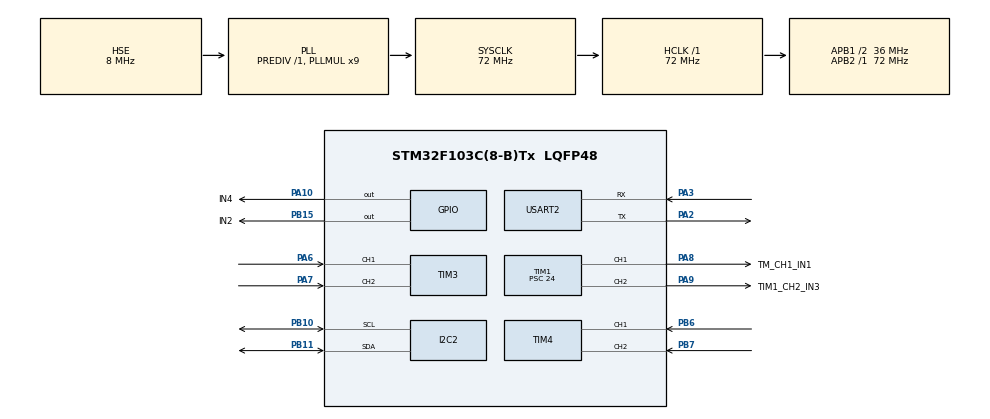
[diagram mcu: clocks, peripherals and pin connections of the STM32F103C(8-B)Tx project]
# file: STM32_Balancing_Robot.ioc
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Dma.Request0=USART2_RX
Dma.USART2_RX.0.Direction=DMA_PERIPH_TO_MEMORY
Dma.USART2_RX.0.Instance=DMA1_Channel6
Dma.USART2_RX.0.MemDataAlignment=DMA_MDATAALIGN_BYTE
Dma.USART2_RX.0.MemInc=DMA_MINC_ENABLE
Dma.USART2_RX.0.Mode=DMA_CIRCULAR
Dma.USART2_RX.0.PeriphDataAlignment=DMA_PDATAALIGN_BYTE
Dma.USART2_RX.0.PeriphInc=DMA_PINC_DISABLE
Dma.USART2_RX.0.Priority=DMA_PRIORITY_LOW
I2C2.I2C_Mode=I2C_Fast
Mcu.Family=STM32F1
Mcu.Name=STM32F103C(8-B)Tx
Mcu.Package=LQFP48
NVIC.DMA1_Channel6_IRQn=true\:0\:0\:false\:false\:true\:false\:true\:true
NVIC.PriorityGroup=NVIC_PRIORITYGROUP_4
NVIC.TIM2_IRQn=true\:0\:0\:false\:false\:true\:true\:true\:true
PA10.GPIO_Label=IN4
PA10.GPIO_Speed=GPIO_SPEED_FREQ_MEDIUM
PA10.Signal=GPIO_Output
PA13.Mode=Serial_Wire
PA13.Signal=SYS_JTMS-SWDIO
PA14.Mode=Serial_Wire
PA14.Signal=SYS_JTCK-SWCLK
PA2.Mode=Asynchronous
PA2.Signal=USART2_TX
PA3.Mode=Asynchronous
PA3.Signal=USART2_RX
PA6.Signal=S_TIM3_CH1
PA7.Signal=S_TIM3_CH2
PA8.GPIO_Label=TM_CH1_IN1
PA8.Signal=S_TIM1_CH1
PA9.GPIO_Label=TIM1_CH2_IN3
PA9.Signal=S_TIM1_CH2
PB10.Mode=I2C
PB10.Signal=I2C2_SCL
PB11.Mode=I2C
PB11.Signal=I2C2_SDA
PB15.GPIO_Label=IN2
PB15.GPIO_Speed=GPIO_SPEED_FREQ_MEDIUM
PB15.Signal=GPIO_Output
PB6.Signal=S_TIM4_CH1
PB7.Signal=S_TIM4_CH2
PD0-OSC_IN.Mode=HSE-External-Oscillator
PD0-OSC_IN.Signal=RCC_OSC_IN
PD1-OSC_OUT.Mode=HSE-External-Oscillator
PD1-OSC_OUT.Signal=RCC_OSC_OUT
ProjectManager.HeapSize=0x200
ProjectManager.StackSize=0x400
ProjectManager.TargetToolchain=STM32CubeIDE
RCC.AHBFreq_Value=72000000
RCC.APB1CLKDivider=RCC_HCLK_DIV2
RCC.APB1Freq_Value=36000000
RCC.APB1TimFreq_Value=72000000
RCC.APB2Freq_Value=72000000
RCC.APB2TimFreq_Value=72000000
RCC.HCLKFreq_Value=72000000
RCC.PLLMUL=RCC_PLL_MUL9
RCC.PLLSourceVirtual=RCC_PLLSOURCE_HSE
RCC.SYSCLKFreq_VALUE=72000000
RCC.SYSCLKSource=RCC_SYSCLKSOURCE_PLLCLK
RCC.USBFreq_Value=72000000
SH.S_TIM1_CH1.0=TIM1_CH1,PWM Generation1 CH1
SH.S_TIM1_CH2.0=TIM1_CH2,PWM Generation2 CH2
SH.S_TIM3_CH1.0=TIM3_CH1,Encoder_Interface
SH.S_TIM3_CH2.0=TIM3_CH2,Encoder_Interface
SH.S_TIM4_CH1.0=TIM4_CH1,Encoder_Interface
SH.S_TIM4_CH2.0=TIM4_CH2,Encoder_Interface
TIM1.Channel-PWM\ Generation1\ CH1=TIM_CHANNEL_1
TIM1.Channel-PWM\ Generation2\ CH2=TIM_CHANNEL_2
TIM1.Period=2879
TIM1.Prescaler=24
TIM2.Period=499
TIM2.Prescaler=719
TIM3.EncoderMode=TIM_ENCODERMODE_TI12
TIM4.EncoderMode=TIM_ENCODERMODE_TI12
USART2.VirtualMode=VM_ASYNC
VP_TIM1_VS_ClockSourceINT.Mode=Internal
VP_TIM2_VS_ClockSourceINT.Mode=Internal
board=custom

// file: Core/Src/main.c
/* USER CODE BEGIN Header */
/**
  ******************************************************************************
  * @file           : main.c
  * @brief          : Main program body
  ******************************************************************************
  * @attention
  *
  * Copyright (c) 2026 STMicroelectronics.
  * All rights reserved.
  *
  * This software is licensed under terms that can be found in the LICENSE file
  * in the root directory of this software component.
  * If no LICENSE file comes with this software, it is provided AS-IS.
  *
  ******************************************************************************
  */
/* USER CODE END Header */
#include "main.h"

/* USER CODE BEGIN Includes */
#include <math.h>
#include "MPU6050.h"
#include "PID.h"
#include "Motor.h"
/* USER CODE END Includes */

/* USER CODE BEGIN PTD */
typedef enum{
	ROBOT_STOP=0,
	ROBOT_RUNNING=1
}Robot_StateTypedef;
/* USER CODE END PTD */

/* USER CODE BEGIN PD */
#define ANGLE_LOOP_TICK_5MS		1U
#define SPEED_LOOP_TICK_5MS		6U
#define S_TO_5MS				0.005f

#define MPU6050_ADDR 			0x68
#define SAMPLES					200
#define IMU_FALL_LIMITS			5U
#define IMU_RESET_EVERY			40U

#define MOTOR1_REVERSED 		0
#define MOTOR2_REVERSED 		1
#define MOTOR_DEADBAND 			500

#define Angle_Kp				50.0f
#define Angle_Ki				0.0f
#define Angle_Kd				2.0f

#define Speed_Kp				0.12f
#define Speed_Ki				0.0f
#define Speed_Kd				0.0f
#define SPEED_TARGET_ANGLE_LIMIT_DEG	15.0f
#define SPEED_LFB_ALPHA			0.4F
#define SPEED_LOOP_DELAY_TICK5MS	400U

#define FALLING_ANGLE_DEG		45.0f
#define ARM_ANGLE_DEG			15.0f
#define ARM_HOLD_S				0.5f

#define MAX_PWM					2879
#define MIN_PWM					-2879

/* USER CODE END PD */

I2C_HandleTypeDef hi2c2;

TIM_HandleTypeDef htim1;
TIM_HandleTypeDef htim2;
TIM_HandleTypeDef htim3;
TIM_HandleTypeDef htim4;

UART_HandleTypeDef huart2;
DMA_HandleTypeDef hdma_usart2_rx;

/* USER CODE BEGIN PV */
MPU6050_TypeDef MyMPU;

Motor_t motor1;
Motor_t motor2;

PID_t PID_Angle;
PID_t PID_Speed;

Robot_StateTypedef state=ROBOT_STOP;

float target_angle=0.0f;
float filtered_speed=0.0f;
float arm_hold_s=0.0f;
uint32_t run_start_tick=0;

uint16_t last_en1=0;
uint16_t last_en2=0;

volatile uint32_t tick_5ms=0;
/* USER CODE END PV */
void SystemClock_Config(void);
static void MX_GPIO_Init(void);
static void MX_DMA_Init(void);
static void MX_TIM1_Init(void);
static void MX_I2C2_Init(void);
static void MX_TIM2_Init(void);
static void MX_TIM3_Init(void);
static void MX_TIM4_Init(void);
static void MX_USART2_UART_Init(void);
/* USER CODE BEGIN PFP */
void HAL_TIM_PeriodElapsedCallback(TIM_HandleTypeDef *htim);
void Robot_AngleLoop(float dt);
void Robot_SpeedLoop(float dt);
void Robot_Stop(void);
/* USER CODE END PFP */

/* USER CODE BEGIN 0 */
 void HAL_TIM_PeriodElapsedCallback(TIM_HandleTypeDef *htim){
	 if(htim->Instance==TIM2){
		 tick_5ms++;
	 }
 }
 void Robot_Stop(){
	 Motor_stop(&motor1);
	 Motor_stop(&motor2);

	 PID_reset(&PID_Angle);
	 PID_reset(&PID_Speed);

	 filtered_speed=0.0f;
	 target_angle=0.0f;

	 arm_hold_s=0;

	 state=ROBOT_STOP;
 }
 void Robot_AngleLoop(float dt){
	 static uint8_t failure=0;
	 if(MPU6050_ReadAll(&MyMPU, dt)!=MPU_OK){
			 failure++;
		 if(failure>=IMU_FALL_LIMITS) Robot_Stop();
		 if(failure%IMU_RESET_EVERY==0U) MPU6050_RecoverBus(&MyMPU);
		 return;
	 }
	 else failure=0;
	 const float pitch=MyMPU.Pitch;
	 if(state==ROBOT_RUNNING){
		 if(fabsf(pitch)>=FALLING_ANGLE_DEG){
			 Robot_Stop();
			 return;
		 }
		 float pwm_motor=PID_compute_WithRate(&PID_Angle, target_angle, pitch,MyMPU.KalmanPitch.rate, dt);
		 Motor_setspeed(&motor1, pwm_motor);
		 Motor_setspeed(&motor2, pwm_motor);
	 }
	 else{
		 if(fabsf(pitch)<ARM_ANGLE_DEG){
			 arm_hold_s+=dt;
			 if(arm_hold_s>ARM_HOLD_S){
				 run_start_tick=tick_5ms;
				 state=ROBOT_RUNNING;
			 }
			 else{
				 arm_hold_s=0;
			 }
		 }
	 }

 }
 void Robot_SpeedLoop(float dt){
	uint16_t curr_en1=__HAL_TIM_GET_COUNTER(&htim3);
	uint16_t curr_en2=__HAL_TIM_GET_COUNTER(&htim4);

	int16_t delta_en1=(int16_t)(curr_en1-last_en1);
	int16_t delta_en2=-(int16_t)(curr_en2-last_en2);

	last_en1=curr_en1;
	last_en2=curr_en2;
	if(state==ROBOT_STOP) return;

	float encoder_avg=(float)(delta_en1+delta_en2)*0.5f;

  filtered_speed= (1-SPEED_LFB_ALPHA)*filtered_speed+encoder_avg*(SPEED_LFB_ALPHA);
	const uint32_t now=tick_5ms;
	if(now-run_start_tick>SPEED_LOOP_DELAY_TICK5MS){
		target_angle=PID_compute(&PID_Speed, 0.0f,filtered_speed, dt);
	}
 }
/* USER CODE END 0 */

int main(void)
{

  /* MCU Configuration--------------------------------------------------------*/

  /* Reset of all peripherals, Initializes the Flash interface and the Systick. */
  HAL_Init();

  /* USER CODE BEGIN Init */
  uint32_t last_angle_tick=0;
  uint32_t last_speed_tick=0;
  /* USER CODE END Init */

  /* Configure the system clock */
  SystemClock_Config();

  /* Initialize all configured peripherals */
  MX_GPIO_Init();
  MX_DMA_Init();
  MX_TIM1_Init();
  MX_I2C2_Init();
  MX_TIM2_Init();
  MX_TIM3_Init();
  MX_TIM4_Init();
  MX_USART2_UART_Init();
  /* USER CODE BEGIN 2 */

  Motor_init(&motor1, IN2_GPIO_Port, IN2_Pin, &htim1, TIM_CHANNEL_1, MOTOR1_REVERSED, MOTOR_DEADBAND);
  Motor_init(&motor2, IN4_GPIO_Port, IN4_Pin, &htim1, TIM_CHANNEL_2, MOTOR2_REVERSED, MOTOR_DEADBAND);
  Motor_stop(&motor1);
  Motor_stop(&motor2);

  HAL_TIM_PWM_Start(&htim1, TIM_CHANNEL_1);
  HAL_TIM_PWM_Start(&htim1, TIM_CHANNEL_2);
  __HAL_TIM_MOE_ENABLE(&htim1);

  HAL_TIM_Encoder_Start(&htim3, TIM_CHANNEL_ALL);
  HAL_TIM_Encoder_Start(&htim4, TIM_CHANNEL_ALL);
  last_en1 = (uint16_t)__HAL_TIM_GET_COUNTER(&htim3);
  last_en2 = (uint16_t)__HAL_TIM_GET_COUNTER(&htim4);

  MPU6050_Init(&MyMPU, &hi2c2, MPU6050_ADDR);
  MPU6050_Calibrate(&MyMPU, SAMPLES);

  PID_init(&PID_Angle, Angle_Kp, Angle_Ki, Angle_Kd, MIN_PWM, MAX_PWM);

  PID_init(&PID_Speed, Speed_Kp, Speed_Ki, Speed_Kd, -SPEED_TARGET_ANGLE_LIMIT_DEG, SPEED_TARGET_ANGLE_LIMIT_DEG);

  HAL_TIM_Base_Start_IT(&htim2);
  /* USER CODE END 2 */

  /* Infinite loop */
  while (1)
  {

    /* USER CODE BEGIN 3 */
	  uint32_t now=tick_5ms;
	  uint32_t elasped= now-last_angle_tick;
	  if(elasped>=ANGLE_LOOP_TICK_5MS){
	  	  Robot_AngleLoop((float)elasped*S_TO_5MS);
	  	  last_angle_tick=now;
	  }
	  now=tick_5ms;
	  elasped=now-last_speed_tick;
	  if(elasped>SPEED_LOOP_TICK_5MS){

		  Robot_SpeedLoop((float)elasped*S_TO_5MS);
		  last_speed_tick=now;
	  }

  /* USER CODE END 3 */
  }
}

void SystemClock_Config(void)
{
  RCC_OscInitTypeDef RCC_OscInitStruct = {0};
  RCC_ClkInitTypeDef RCC_ClkInitStruct = {0};

  /** Initializes the RCC Oscillators according to the specified parameters
  * in the RCC_OscInitTypeDef structure.
  */
  RCC_OscInitStruct.OscillatorType = RCC_OSCILLATORTYPE_HSE;
  RCC_OscInitStruct.HSEState = RCC_HSE_ON;
  RCC_OscInitStruct.HSEPredivValue = RCC_HSE_PREDIV_DIV1;
  RCC_OscInitStruct.HSIState = RCC_HSI_ON;
  RCC_OscInitStruct.PLL.PLLState = RCC_PLL_ON;
  RCC_OscInitStruct.PLL.PLLSource = RCC_PLLSOURCE_HSE;
  RCC_OscInitStruct.PLL.PLLMUL = RCC_PLL_MUL9;
  if (HAL_RCC_OscConfig(&RCC_OscInitStruct) != HAL_OK)
  {
    Error_Handler();
  }

  /** Initializes the CPU, AHB and APB buses clocks
  */
  RCC_ClkInitStruct.ClockType = RCC_CLOCKTYPE_HCLK|RCC_CLOCKTYPE_SYSCLK
                              |RCC_CLOCKTYPE_PCLK1|RCC_CLOCKTYPE_PCLK2;
  RCC_ClkInitStruct.SYSCLKSource = RCC_SYSCLKSOURCE_PLLCLK;
  RCC_ClkInitStruct.AHBCLKDivider = RCC_SYSCLK_DIV1;
  RCC_ClkInitStruct.APB1CLKDivider = RCC_HCLK_DIV2;
  RCC_ClkInitStruct.APB2CLKDivider = RCC_HCLK_DIV1;

  if (HAL_RCC_ClockConfig(&RCC_ClkInitStruct, FLASH_LATENCY_2) != HAL_OK)
  {
    Error_Handler();
  }
}

static void MX_I2C2_Init(void)
{

  hi2c2.Instance = I2C2;
  hi2c2.Init.ClockSpeed = 400000;
  hi2c2.Init.DutyCycle = I2C_DUTYCYCLE_2;
  hi2c2.Init.OwnAddress1 = 0;
  hi2c2.Init.AddressingMode = I2C_ADDRESSINGMODE_7BIT;
  hi2c2.Init.DualAddressMode = I2C_DUALADDRESS_DISABLE;
  hi2c2.Init.OwnAddress2 = 0;
  hi2c2.Init.GeneralCallMode = I2C_GENERALCALL_DISABLE;
  hi2c2.Init.NoStretchMode = I2C_NOSTRETCH_DISABLE;
  if (HAL_I2C_Init(&hi2c2) != HAL_OK)
  {
    Error_Handler();
  }

}

static void MX_TIM1_Init(void)
{

  TIM_ClockConfigTypeDef sClockSourceConfig = {0};
  TIM_MasterConfigTypeDef sMasterConfig = {0};
  TIM_OC_InitTypeDef sConfigOC = {0};
  TIM_BreakDeadTimeConfigTypeDef sBreakDeadTimeConfig = {0};

  htim1.Instance = TIM1;
  htim1.Init.Prescaler = 24;
  htim1.Init.CounterMode = TIM_COUNTERMODE_UP;
  htim1.Init.Period = 2879;
  htim1.Init.ClockDivision = TIM_CLOCKDIVISION_DIV1;
  htim1.Init.RepetitionCounter = 0;
  htim1.Init.AutoReloadPreload = TIM_AUTORELOAD_PRELOAD_DISABLE;
  if (HAL_TIM_Base_Init(&htim1) != HAL_OK)
  {
    Error_Handler();
  }
  sClockSourceConfig.ClockSource = TIM_CLOCKSOURCE_INTERNAL;
  if (HAL_TIM_ConfigClockSource(&htim1, &sClockSourceConfig) != HAL_OK)
  {
    Error_Handler();
  }
  if (HAL_TIM_PWM_Init(&htim1) != HAL_OK)
  {
    Error_Handler();
  }
  sMasterConfig.MasterOutputTrigger = TIM_TRGO_RESET;
  sMasterConfig.MasterSlaveMode = TIM_MASTERSLAVEMODE_DISABLE;
  if (HAL_TIMEx_MasterConfigSynchronization(&htim1, &sMasterConfig) != HAL_OK)
  {
    Error_Handler();
  }
  sConfigOC.OCMode = TIM_OCMODE_PWM1;
  sConfigOC.Pulse = 0;
  sConfigOC.OCPolarity = TIM_OCPOLARITY_HIGH;
  sConfigOC.OCNPolarity = TIM_OCNPOLARITY_HIGH;
  sConfigOC.OCFastMode = TIM_OCFAST_DISABLE;
  sConfigOC.OCIdleState = TIM_OCIDLESTATE_RESET;
  sConfigOC.OCNIdleState = TIM_OCNIDLESTATE_RESET;
  if (HAL_TIM_PWM_ConfigChannel(&htim1, &sConfigOC, TIM_CHANNEL_1) != HAL_OK)
  {
    Error_Handler();
  }
  if (HAL_TIM_PWM_ConfigChannel(&htim1, &sConfigOC, TIM_CHANNEL_2) != HAL_OK)
  {
    Error_Handler();
  }
  sBreakDeadTimeConfig.OffStateRunMode = TIM_OSSR_DISABLE;
  sBreakDeadTimeConfig.OffStateIDLEMode = TIM_OSSI_DISABLE;
  sBreakDeadTimeConfig.LockLevel = TIM_LOCKLEVEL_OFF;
  sBreakDeadTimeConfig.DeadTime = 0;
  sBreakDeadTimeConfig.BreakState = TIM_BREAK_DISABLE;
  sBreakDeadTimeConfig.BreakPolarity = TIM_BREAKPOLARITY_HIGH;
  sBreakDeadTimeConfig.AutomaticOutput = TIM_AUTOMATICOUTPUT_DISABLE;
  if (HAL_TIMEx_ConfigBreakDeadTime(&htim1, &sBreakDeadTimeConfig) != HAL_OK)
  {
    Error_Handler();
  }
  HAL_TIM_MspPostInit(&htim1);

}

static void MX_TIM2_Init(void)
{

  TIM_ClockConfigTypeDef sClockSourceConfig = {0};
  TIM_MasterConfigTypeDef sMasterConfig = {0};

  htim2.Instance = TIM2;
  htim2.Init.Prescaler = 719;
  htim2.Init.CounterMode = TIM_COUNTERMODE_UP;
  htim2.Init.Period = 499;
  htim2.Init.ClockDivision = TIM_CLOCKDIVISION_DIV1;
  htim2.Init.AutoReloadPreload = TIM_AUTORELOAD_PRELOAD_DISABLE;
  if (HAL_TIM_Base_Init(&htim2) != HAL_OK)
  {
    Error_Handler();
  }
  sClockSourceConfig.ClockSource = TIM_CLOCKSOURCE_INTERNAL;
  if (HAL_TIM_ConfigClockSource(&htim2, &sClockSourceConfig) != HAL_OK)
  {
    Error_Handler();
  }
  sMasterConfig.MasterOutputTrigger = TIM_TRGO_RESET;
  sMasterConfig.MasterSlaveMode = TIM_MASTERSLAVEMODE_DISABLE;
  if (HAL_TIMEx_MasterConfigSynchronization(&htim2, &sMasterConfig) != HAL_OK)
  {
    Error_Handler();
  }

}

static void MX_TIM3_Init(void)
{

  TIM_Encoder_InitTypeDef sConfig = {0};
  TIM_MasterConfigTypeDef sMasterConfig = {0};

  htim3.Instance = TIM3;
  htim3.Init.Prescaler = 0;
  htim3.Init.CounterMode = TIM_COUNTERMODE_UP;
  htim3.Init.Period = 65535;
  htim3.Init.ClockDivision = TIM_CLOCKDIVISION_DIV1;
  htim3.Init.AutoReloadPreload = TIM_AUTORELOAD_PRELOAD_DISABLE;
  sConfig.EncoderMode = TIM_ENCODERMODE_TI12;
  sConfig.IC1Polarity = TIM_ICPOLARITY_RISING;
  sConfig.IC1Selection = TIM_ICSELECTION_DIRECTTI;
  sConfig.IC1Prescaler = TIM_ICPSC_DIV1;
  sConfig.IC1Filter = 0;
  sConfig.IC2Polarity = TIM_ICPOLARITY_RISING;
  sConfig.IC2Selection = TIM_ICSELECTION_DIRECTTI;
  sConfig.IC2Prescaler = TIM_ICPSC_DIV1;
  sConfig.IC2Filter = 0;
  if (HAL_TIM_Encoder_Init(&htim3, &sConfig) != HAL_OK)
  {
    Error_Handler();
  }
  sMasterConfig.MasterOutputTrigger = TIM_TRGO_RESET;
  sMasterConfig.MasterSlaveMode = TIM_MASTERSLAVEMODE_DISABLE;
  if (HAL_TIMEx_MasterConfigSynchronization(&htim3, &sMasterConfig) != HAL_OK)
  {
    Error_Handler();
  }

}

static void MX_TIM4_Init(void)
{

  TIM_Encoder_InitTypeDef sConfig = {0};
  TIM_MasterConfigTypeDef sMasterConfig = {0};

  htim4.Instance = TIM4;
  htim4.Init.Prescaler = 0;
  htim4.Init.CounterMode = TIM_COUNTERMODE_UP;
  htim4.Init.Period = 65535;
  htim4.Init.ClockDivision = TIM_CLOCKDIVISION_DIV1;
  htim4.Init.AutoReloadPreload = TIM_AUTORELOAD_PRELOAD_DISABLE;
  sConfig.EncoderMode = TIM_ENCODERMODE_TI12;
  sConfig.IC1Polarity = TIM_ICPOLARITY_RISING;
  sConfig.IC1Selection = TIM_ICSELECTION_DIRECTTI;
  sConfig.IC1Prescaler = TIM_ICPSC_DIV1;
  sConfig.IC1Filter = 0;
  sConfig.IC2Polarity = TIM_ICPOLARITY_RISING;
  sConfig.IC2Selection = TIM_ICSELECTION_DIRECTTI;
  sConfig.IC2Prescaler = TIM_ICPSC_DIV1;
  sConfig.IC2Filter = 0;
  if (HAL_TIM_Encoder_Init(&htim4, &sConfig) != HAL_OK)
  {
    Error_Handler();
  }
  sMasterConfig.MasterOutputTrigger = TIM_TRGO_RESET;
  sMasterConfig.MasterSlaveMode = TIM_MASTERSLAVEMODE_DISABLE;
  if (HAL_TIMEx_MasterConfigSynchronization(&htim4, &sMasterConfig) != HAL_OK)
  {
    Error_Handler();
  }

}

static void MX_USART2_UART_Init(void)
{

  huart2.Instance = USART2;
  huart2.Init.BaudRate = 115200;
  huart2.Init.WordLength = UART_WORDLENGTH_8B;
  huart2.Init.StopBits = UART_STOPBITS_1;
  huart2.Init.Parity = UART_PARITY_NONE;
  huart2.Init.Mode = UART_MODE_TX_RX;
  huart2.Init.HwFlowCtl = UART_HWCONTROL_NONE;
  huart2.Init.OverSampling = UART_OVERSAMPLING_16;
  if (HAL_UART_Init(&huart2) != HAL_OK)
  {
    Error_Handler();
  }

}

static void MX_DMA_Init(void)
{

  /* DMA controller clock enable */
  __HAL_RCC_DMA1_CLK_ENABLE();

  /* DMA interrupt init */
  /* DMA1_Channel6_IRQn interrupt configuration */
  HAL_NVIC_SetPriority(DMA1_Channel6_IRQn, 0, 0);
  HAL_NVIC_EnableIRQ(DMA1_Channel6_IRQn);

}

static void MX_GPIO_Init(void)
{
  GPIO_InitTypeDef GPIO_InitStruct = {0};

  /* GPIO Ports Clock Enable */
  __HAL_RCC_GPIOD_CLK_ENABLE();
  __HAL_RCC_GPIOA_CLK_ENABLE();
  __HAL_RCC_GPIOB_CLK_ENABLE();

  /*Configure GPIO pin Output Level */
  HAL_GPIO_WritePin(IN2_GPIO_Port, IN2_Pin, GPIO_PIN_RESET);

  /*Configure GPIO pin Output Level */
  HAL_GPIO_WritePin(IN4_GPIO_Port, IN4_Pin, GPIO_PIN_RESET);

  /*Configure GPIO pin : IN2_Pin */
  GPIO_InitStruct.Pin = IN2_Pin;
  GPIO_InitStruct.Mode = GPIO_MODE_OUTPUT_PP;
  GPIO_InitStruct.Pull = GPIO_NOPULL;
  GPIO_InitStruct.Speed = GPIO_SPEED_FREQ_MEDIUM;
  HAL_GPIO_Init(IN2_GPIO_Port, &GPIO_InitStruct);

  /*Configure GPIO pin : IN4_Pin */
  GPIO_InitStruct.Pin = IN4_Pin;
  GPIO_InitStruct.Mode = GPIO_MODE_OUTPUT_PP;
  GPIO_InitStruct.Pull = GPIO_NOPULL;
  GPIO_InitStruct.Speed = GPIO_SPEED_FREQ_MEDIUM;
  HAL_GPIO_Init(IN4_GPIO_Port, &GPIO_InitStruct);

}

void Error_Handler(void)
{
  __disable_irq();
  while (1)
  {
  }
}
